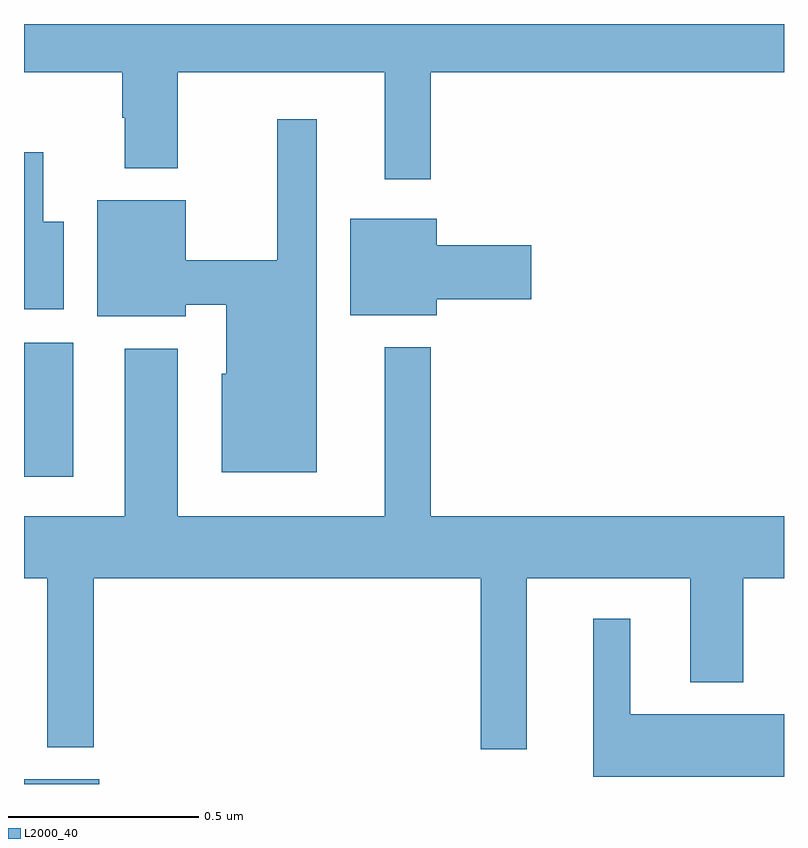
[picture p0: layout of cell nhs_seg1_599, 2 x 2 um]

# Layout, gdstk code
import gdstk
lib = gdstk.Library(unit=1e-6, precision=1e-09)
def R(c, l, rs):  # rectangles x0, y0, x1, y1
    for r in rs: c.add(gdstk.rectangle(r[:2], r[2:], *l))
def P(c, l, *ps):  # polygons
    for p in ps: c.add(gdstk.Polygon(p, *l))
L2000_40 = (2000, 40)

nhs_seg1_599 = lib.new_cell('nhs_seg1_599')
R(nhs_seg1_599, L2000_40, [(118,543.199,118.198,543.211), (118,544.008,118.129,544.36)])
P(nhs_seg1_599, L2000_40, [(119.071,545.072),(120,545.072),(120,545.199),(118,545.199),(118,545.072),(118.258,545.072),(118.258,544.952),(118.265,544.952),(118.265,544.82),(118.405,544.82),(118.405,545.072),(118.949,545.072),(118.949,544.791),(119.071,544.791)],
  [(118.771,544.948),(118.667,544.948),(118.667,544.577),(118.426,544.577),(118.426,544.735),(118.193,544.735),(118.193,544.43),(118.426,544.43),(118.426,544.46),(118.532,544.46),(118.532,544.278),(118.52,544.278),(118.52,544.019),(118.771,544.019)],
  [(118.105,544.678),(118.051,544.678),(118.051,544.861),(118,544.861),(118,544.448),(118.105,544.448)],
  [(119.086,544.475),(119.335,544.475),(119.335,544.617),(119.086,544.617),(119.086,544.687),(118.859,544.687),(118.859,544.433),(119.086,544.433)],
  [(119.323,543.74),(119.753,543.74),(119.753,543.467),(119.893,543.467),(119.893,543.74),(120,543.74),(120,543.904),(119.071,543.904),(119.071,544.348),(118.949,544.348),(118.949,543.904),(118.405,543.904),(118.405,544.345),(118.265,544.345),(118.265,543.904),(118,543.904),(118,543.74),(118.061,543.74),(118.061,543.296),(118.183,543.296),(118.183,543.74),(119.202,543.74),(119.202,543.291),(119.323,543.291)],
  [(120,543.382),(119.596,543.382),(119.596,543.634),(119.498,543.634),(119.498,543.218),(120,543.218)])

lib.write_gds('nhs_seg1_599.gds')
